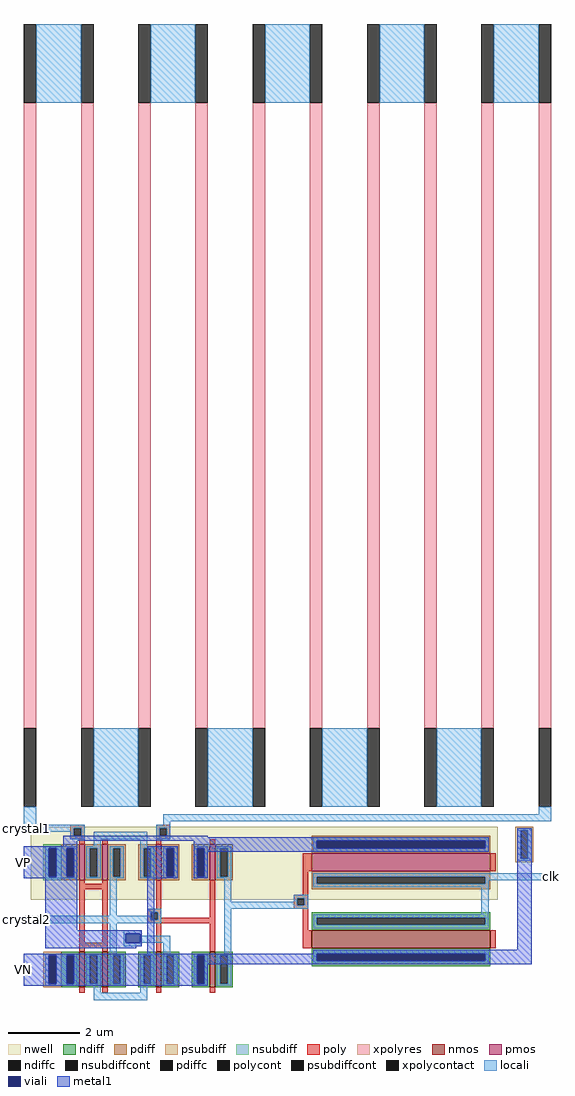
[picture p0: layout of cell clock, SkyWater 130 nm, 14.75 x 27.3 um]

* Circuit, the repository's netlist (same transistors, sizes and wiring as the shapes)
* SPICE3 file created from clock.ext - technology: sky130A


* Top level circuit clock

X0 a_38980_3200# a_38660_7140# VN sky130_fd_pr__res_xhigh_po w=350000u l=1.75e+07u
X1 a_39620_3200# a_39940_7140# VN sky130_fd_pr__res_xhigh_po w=350000u l=1.75e+07u
X2 a_37720_2790# crystal1 VP VP sky130_fd_pr__pfet_01v8 ad=1e+12p pd=6e+06u as=3.5e+12p ps=1.7e+07u w=1e+06u l=150000u
X3 clk a_38450_2190# VN VN sky130_fd_pr__nfet_01v8 ad=2.5e+12p pd=1.1e+07u as=3.5e+12p ps=1.7e+07u w=5e+06u l=500000u
X4 a_38450_2190# crystal2 VN VN sky130_fd_pr__nfet_01v8 ad=5e+11p pd=3e+06u as=0p ps=0u w=1e+06u l=150000u
X5 VN crystal2 a_37720_2790# VP sky130_fd_pr__pfet_01v8 ad=1.5e+12p pd=9e+06u as=0p ps=0u w=1e+06u l=150000u
X6 a_37700_3200# a_37380_7140# VN sky130_fd_pr__res_xhigh_po w=350000u l=1.75e+07u
X7 crystal2 crystal1 a_37720_2790# VP sky130_fd_pr__pfet_01v8 ad=5e+11p pd=3e+06u as=0p ps=0u w=1e+06u l=150000u
X8 a_37720_2190# crystal1 VN VN sky130_fd_pr__nfet_01v8 ad=1e+12p pd=6e+06u as=0p ps=0u w=1e+06u l=150000u
X9 a_37700_3200# a_38020_7140# VN sky130_fd_pr__res_xhigh_po w=350000u l=1.75e+07u
X10 crystal2 a_39940_7140# VN sky130_fd_pr__res_xhigh_po w=350000u l=1.75e+07u
X11 crystal1 a_37380_7140# VN sky130_fd_pr__res_xhigh_po w=350000u l=1.75e+07u
X12 a_38340_3200# a_38020_7140# VN sky130_fd_pr__res_xhigh_po w=350000u l=1.75e+07u
X13 VP crystal2 a_37720_2190# VN sky130_fd_pr__nfet_01v8 ad=1e+12p pd=6e+06u as=0p ps=0u w=1e+06u l=150000u
X14 a_38980_3200# a_39300_7140# VN sky130_fd_pr__res_xhigh_po w=350000u l=1.75e+07u
X15 crystal2 crystal1 a_37720_2190# VN sky130_fd_pr__nfet_01v8 ad=5e+11p pd=3e+06u as=0p ps=0u w=1e+06u l=150000u
X16 VP a_38450_2190# clk VP sky130_fd_pr__pfet_01v8 ad=0p pd=0u as=2.5e+12p ps=1.1e+07u w=5e+06u l=500000u
X17 a_38340_3200# a_38660_7140# VN sky130_fd_pr__res_xhigh_po w=350000u l=1.75e+07u
X18 a_39620_3200# a_39300_7140# VN sky130_fd_pr__res_xhigh_po w=350000u l=1.75e+07u
X19 a_38450_2190# crystal2 VP VP sky130_fd_pr__pfet_01v8 ad=5e+11p pd=3e+06u as=0p ps=0u w=1e+06u l=150000u
.end

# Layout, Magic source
magic
tech sky130A
<< nwell >>
rect 18710 1340 20015 1545
<< nmos >>
rect 19495 1205 19995 1255
rect 18845 1095 18860 1195
rect 18910 1095 18925 1195
rect 19060 1095 19075 1195
rect 19210 1095 19225 1195
<< pmos >>
rect 18845 1395 18860 1495
rect 18910 1395 18925 1495
rect 19060 1395 19075 1495
rect 19210 1395 19225 1495
rect 19495 1420 19995 1470
<< ndiff >>
rect 19495 1290 19995 1305
rect 19495 1270 19510 1290
rect 19980 1270 19995 1290
rect 19495 1255 19995 1270
rect 18795 1185 18845 1195
rect 18795 1105 18810 1185
rect 18830 1105 18845 1185
rect 18795 1095 18845 1105
rect 18860 1185 18910 1195
rect 18860 1105 18875 1185
rect 18895 1105 18910 1185
rect 18860 1095 18910 1105
rect 18925 1185 18975 1195
rect 18925 1105 18940 1185
rect 18960 1105 18975 1185
rect 18925 1095 18975 1105
rect 19010 1185 19060 1195
rect 19010 1105 19025 1185
rect 19045 1105 19060 1185
rect 19010 1095 19060 1105
rect 19075 1185 19125 1195
rect 19075 1105 19090 1185
rect 19110 1105 19125 1185
rect 19075 1095 19125 1105
rect 19160 1185 19210 1195
rect 19160 1105 19175 1185
rect 19195 1105 19210 1185
rect 19160 1095 19210 1105
rect 19225 1185 19275 1195
rect 19225 1105 19240 1185
rect 19260 1105 19275 1185
rect 19495 1190 19995 1205
rect 19495 1170 19510 1190
rect 19980 1170 19995 1190
rect 19495 1155 19995 1170
rect 19225 1095 19275 1105
<< pdiff >>
rect 19495 1505 19995 1520
rect 18795 1485 18845 1495
rect 18795 1405 18810 1485
rect 18830 1405 18845 1485
rect 18795 1395 18845 1405
rect 18860 1485 18910 1495
rect 18860 1405 18875 1485
rect 18895 1405 18910 1485
rect 18860 1395 18910 1405
rect 18925 1485 18975 1495
rect 18925 1405 18940 1485
rect 18960 1405 18975 1485
rect 18925 1395 18975 1405
rect 19010 1485 19060 1495
rect 19010 1405 19025 1485
rect 19045 1405 19060 1485
rect 19010 1395 19060 1405
rect 19075 1485 19125 1495
rect 19075 1405 19090 1485
rect 19110 1405 19125 1485
rect 19075 1395 19125 1405
rect 19160 1485 19210 1495
rect 19160 1405 19175 1485
rect 19195 1405 19210 1485
rect 19160 1395 19210 1405
rect 19225 1485 19275 1495
rect 19225 1405 19240 1485
rect 19260 1405 19275 1485
rect 19495 1485 19510 1505
rect 19980 1485 19995 1505
rect 19495 1470 19995 1485
rect 19225 1395 19275 1405
rect 19495 1405 19995 1420
rect 19495 1385 19510 1405
rect 19980 1385 19995 1405
rect 19495 1370 19995 1385
<< ndiffc >>
rect 19510 1270 19980 1290
rect 18810 1105 18830 1185
rect 18875 1105 18895 1185
rect 18940 1105 18960 1185
rect 19025 1105 19045 1185
rect 19090 1105 19110 1185
rect 19175 1105 19195 1185
rect 19240 1105 19260 1185
rect 19510 1170 19980 1190
<< pdiffc >>
rect 18810 1405 18830 1485
rect 18875 1405 18895 1485
rect 18940 1405 18960 1485
rect 19025 1405 19045 1485
rect 19090 1405 19110 1485
rect 19175 1405 19195 1485
rect 19240 1405 19260 1485
rect 19510 1485 19980 1505
rect 19510 1385 19980 1405
<< psubdiff >>
rect 20065 1535 20115 1545
rect 20065 1455 20080 1535
rect 20100 1455 20115 1535
rect 20065 1445 20115 1455
rect 18745 1185 18795 1195
rect 18745 1105 18760 1185
rect 18780 1105 18795 1185
rect 18745 1095 18795 1105
<< nsubdiff >>
rect 18745 1485 18795 1495
rect 18745 1405 18760 1485
rect 18780 1405 18795 1485
rect 18745 1395 18795 1405
<< psubdiffcont >>
rect 20080 1455 20100 1535
rect 18760 1105 18780 1185
<< nsubdiffcont >>
rect 18760 1405 18780 1485
<< poly >>
rect 18820 1540 18860 1550
rect 18820 1520 18830 1540
rect 18850 1520 18860 1540
rect 18820 1510 18860 1520
rect 19060 1540 19100 1550
rect 19060 1520 19070 1540
rect 19090 1520 19100 1540
rect 19060 1510 19100 1520
rect 18845 1495 18860 1510
rect 18910 1495 18925 1510
rect 19060 1495 19075 1510
rect 19210 1495 19225 1510
rect 19470 1420 19495 1470
rect 19995 1420 20010 1470
rect 18845 1385 18860 1395
rect 18910 1385 18925 1395
rect 18845 1370 18925 1385
rect 18845 1220 18860 1370
rect 18910 1220 18925 1370
rect 19060 1315 19075 1395
rect 19035 1305 19075 1315
rect 19035 1285 19045 1305
rect 19065 1290 19075 1305
rect 19210 1290 19225 1395
rect 19470 1355 19485 1420
rect 19445 1345 19485 1355
rect 19445 1325 19455 1345
rect 19475 1325 19485 1345
rect 19445 1315 19485 1325
rect 19065 1285 19225 1290
rect 19035 1275 19225 1285
rect 18845 1205 18925 1220
rect 18845 1195 18860 1205
rect 18910 1195 18925 1205
rect 19060 1195 19075 1275
rect 19210 1195 19225 1275
rect 19470 1255 19485 1315
rect 19470 1205 19495 1255
rect 19995 1205 20010 1255
rect 18845 1080 18860 1095
rect 18910 1080 18925 1095
rect 19060 1080 19075 1095
rect 19210 1080 19225 1095
<< polycont >>
rect 18830 1520 18850 1540
rect 19070 1520 19090 1540
rect 19045 1285 19065 1305
rect 19455 1325 19475 1345
<< xpolycontact >>
rect 18690 3570 18725 3790
rect 18690 1600 18725 1820
rect 18850 3570 18885 3790
rect 18850 1600 18885 1820
rect 19010 3570 19045 3790
rect 19010 1600 19045 1820
rect 19170 3570 19205 3790
rect 19170 1600 19205 1820
rect 19330 3570 19365 3790
rect 19330 1600 19365 1820
rect 19490 3570 19525 3790
rect 19490 1600 19525 1820
rect 19650 3570 19685 3790
rect 19650 1600 19685 1820
rect 19810 3570 19845 3790
rect 19810 1600 19845 1820
rect 19970 3570 20005 3790
rect 19970 1600 20005 1820
rect 20130 3570 20165 3790
rect 20130 1600 20165 1820
<< xpolyres >>
rect 18690 1820 18725 3570
rect 18850 1820 18885 3570
rect 19010 1820 19045 3570
rect 19170 1820 19205 3570
rect 19330 1820 19365 3570
rect 19490 1820 19525 3570
rect 19650 1820 19685 3570
rect 19810 1820 19845 3570
rect 19970 1820 20005 3570
rect 20130 1820 20165 3570
<< locali >>
rect 18725 3570 18850 3790
rect 19045 3570 19170 3790
rect 19365 3570 19490 3790
rect 19685 3570 19810 3790
rect 20005 3570 20130 3790
rect 18885 1600 19010 1820
rect 19205 1600 19330 1820
rect 19525 1600 19650 1820
rect 19845 1600 19970 1820
rect 18690 1550 18725 1600
rect 20130 1580 20165 1600
rect 19080 1560 20165 1580
rect 19080 1550 19100 1560
rect 18690 1540 18860 1550
rect 18690 1530 18830 1540
rect 18820 1520 18830 1530
rect 18850 1520 18860 1540
rect 19060 1540 19100 1550
rect 18820 1510 18860 1520
rect 18885 1510 19035 1530
rect 19060 1520 19070 1540
rect 19090 1520 19100 1540
rect 19060 1510 19100 1520
rect 20070 1535 20110 1540
rect 18885 1490 18905 1510
rect 19015 1490 19035 1510
rect 19500 1505 19990 1515
rect 18750 1485 18840 1490
rect 18750 1405 18760 1485
rect 18780 1405 18810 1485
rect 18830 1405 18840 1485
rect 18750 1400 18840 1405
rect 18865 1485 18905 1490
rect 18865 1405 18875 1485
rect 18895 1405 18905 1485
rect 18865 1400 18905 1405
rect 18930 1485 18970 1490
rect 18930 1405 18940 1485
rect 18960 1405 18970 1485
rect 18930 1400 18970 1405
rect 19015 1485 19055 1490
rect 19015 1405 19025 1485
rect 19045 1405 19055 1485
rect 19015 1400 19055 1405
rect 19080 1485 19120 1490
rect 19080 1405 19090 1485
rect 19110 1405 19120 1485
rect 19080 1400 19120 1405
rect 19165 1485 19205 1490
rect 19165 1405 19175 1485
rect 19195 1405 19205 1485
rect 19165 1400 19205 1405
rect 19230 1485 19270 1490
rect 19230 1405 19240 1485
rect 19260 1405 19270 1485
rect 19500 1485 19510 1505
rect 19980 1485 19990 1505
rect 19500 1475 19990 1485
rect 20070 1455 20080 1535
rect 20100 1455 20110 1535
rect 20070 1450 20110 1455
rect 19230 1400 19270 1405
rect 18930 1295 18950 1400
rect 19250 1335 19270 1400
rect 19500 1405 20165 1415
rect 19500 1385 19510 1405
rect 19980 1395 20165 1405
rect 19980 1385 19990 1395
rect 19500 1375 19990 1385
rect 19445 1345 19485 1355
rect 19445 1335 19455 1345
rect 19250 1325 19455 1335
rect 19475 1325 19485 1345
rect 19250 1315 19485 1325
rect 19035 1305 19075 1315
rect 19035 1295 19045 1305
rect 18690 1285 19045 1295
rect 19065 1285 19075 1305
rect 18690 1275 19075 1285
rect 18930 1190 18950 1275
rect 18970 1245 19020 1255
rect 18970 1220 18975 1245
rect 19015 1240 19020 1245
rect 19015 1220 19100 1240
rect 18970 1210 19020 1220
rect 19080 1190 19100 1220
rect 19250 1190 19270 1315
rect 19970 1300 19990 1375
rect 19500 1290 19990 1300
rect 19500 1270 19510 1290
rect 19980 1270 19990 1290
rect 19500 1260 19990 1270
rect 18750 1185 18840 1190
rect 18750 1105 18760 1185
rect 18780 1105 18810 1185
rect 18830 1105 18840 1185
rect 18750 1100 18840 1105
rect 18865 1185 18905 1190
rect 18865 1105 18875 1185
rect 18895 1105 18905 1185
rect 18865 1100 18905 1105
rect 18930 1185 18970 1190
rect 18930 1105 18940 1185
rect 18960 1105 18970 1185
rect 18930 1100 18970 1105
rect 19015 1185 19055 1190
rect 19015 1105 19025 1185
rect 19045 1105 19055 1185
rect 19015 1100 19055 1105
rect 19080 1185 19120 1190
rect 19080 1105 19090 1185
rect 19110 1105 19120 1185
rect 19080 1100 19120 1105
rect 19165 1185 19205 1190
rect 19165 1105 19175 1185
rect 19195 1105 19205 1185
rect 19165 1100 19205 1105
rect 19230 1185 19270 1190
rect 19230 1105 19240 1185
rect 19260 1105 19270 1185
rect 19500 1190 19990 1200
rect 19500 1170 19510 1190
rect 19980 1170 19990 1190
rect 19500 1160 19990 1170
rect 19230 1100 19270 1105
rect 18885 1080 18905 1100
rect 19015 1080 19035 1100
rect 18885 1060 19035 1080
<< viali >>
rect 18760 1405 18780 1485
rect 18810 1405 18830 1485
rect 19090 1405 19110 1485
rect 19175 1405 19195 1485
rect 19510 1485 19980 1505
rect 18975 1220 19015 1245
rect 18760 1105 18780 1185
rect 18810 1105 18830 1185
rect 19175 1105 19195 1185
rect 19510 1170 19980 1190
<< metal1 >>
rect 18800 1515 19205 1520
rect 18800 1505 19990 1515
rect 18800 1490 18840 1505
rect 18690 1485 18840 1490
rect 18690 1405 18760 1485
rect 18780 1405 18810 1485
rect 18830 1405 18840 1485
rect 18690 1400 18840 1405
rect 18750 1255 18840 1400
rect 19035 1485 19120 1490
rect 19035 1405 19090 1485
rect 19110 1405 19120 1485
rect 19035 1400 19120 1405
rect 19165 1485 19510 1505
rect 19980 1485 19990 1505
rect 19165 1405 19175 1485
rect 19195 1475 19990 1485
rect 19195 1405 19205 1475
rect 19165 1400 19205 1405
rect 18750 1245 19020 1255
rect 18750 1220 18975 1245
rect 19015 1220 19020 1245
rect 18750 1210 19020 1220
rect 18750 1205 19005 1210
rect 19035 1190 19055 1400
rect 20070 1200 20110 1540
rect 19500 1190 20110 1200
rect 18690 1185 19510 1190
rect 18690 1105 18760 1185
rect 18780 1105 18810 1185
rect 18830 1105 19175 1185
rect 19195 1170 19510 1185
rect 19980 1170 20110 1190
rect 19195 1160 20110 1170
rect 19195 1105 19205 1160
rect 18690 1100 19205 1105
<< labels >>
rlabel metal1 18690 1445 18690 1445 7 VP
rlabel metal1 18690 1145 18690 1145 7 VN
rlabel locali 18690 1540 18690 1540 7 crystal1
rlabel locali 18690 1285 18690 1285 7 crystal2
rlabel locali 20165 1405 20165 1405 3 clk
<< end >>
